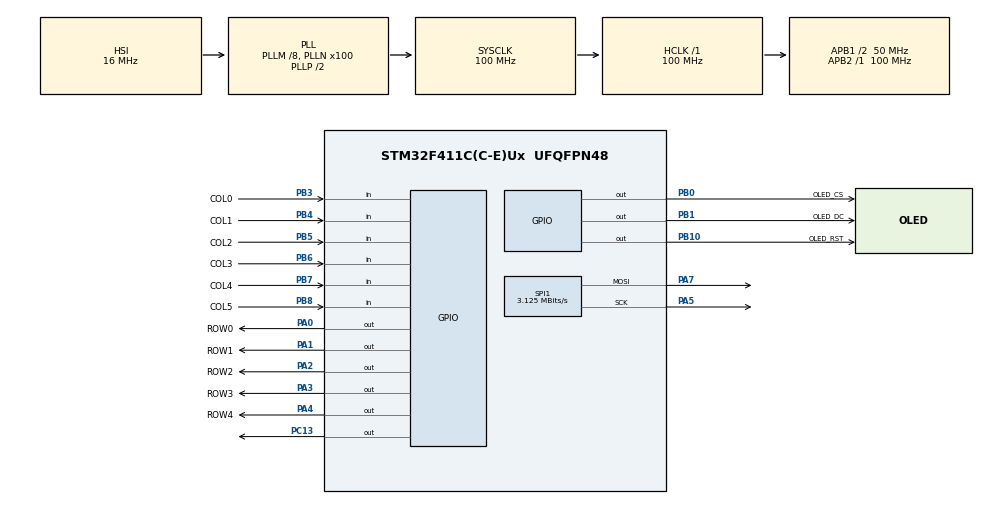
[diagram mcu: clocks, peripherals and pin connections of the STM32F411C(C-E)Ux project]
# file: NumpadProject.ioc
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Mcu.Family=STM32F4
Mcu.Name=STM32F411C(C-E)Ux
Mcu.Package=UFQFPN48
NVIC.PriorityGroup=NVIC_PRIORITYGROUP_4
PA0-WKUP.GPIO_Label=ROW0
PA0-WKUP.GPIO_ModeDefaultOutputPP=GPIO_MODE_OUTPUT_OD
PA0-WKUP.GPIO_PuPd=GPIO_NOPULL
PA0-WKUP.PinState=GPIO_PIN_SET
PA0-WKUP.Signal=GPIO_Output
PA1.GPIO_Label=ROW1
PA1.GPIO_ModeDefaultOutputPP=GPIO_MODE_OUTPUT_OD
PA1.GPIO_PuPd=GPIO_NOPULL
PA1.PinState=GPIO_PIN_SET
PA1.Signal=GPIO_Output
PA13.Mode=Serial_Wire
PA13.Signal=SYS_JTMS-SWDIO
PA14.Mode=Serial_Wire
PA14.Signal=SYS_JTCK-SWCLK
PA2.GPIO_Label=ROW2
PA2.GPIO_ModeDefaultOutputPP=GPIO_MODE_OUTPUT_OD
PA2.GPIO_PuPd=GPIO_NOPULL
PA2.PinState=GPIO_PIN_SET
PA2.Signal=GPIO_Output
PA3.GPIO_Label=ROW3
PA3.GPIO_ModeDefaultOutputPP=GPIO_MODE_OUTPUT_OD
PA3.GPIO_PuPd=GPIO_NOPULL
PA3.PinState=GPIO_PIN_SET
PA3.Signal=GPIO_Output
PA4.GPIO_Label=ROW4
PA4.GPIO_ModeDefaultOutputPP=GPIO_MODE_OUTPUT_OD
PA4.GPIO_PuPd=GPIO_NOPULL
PA4.PinState=GPIO_PIN_SET
PA4.Signal=GPIO_Output
PA5.Mode=TX_Only_Simplex_Unidirect_Master
PA5.Signal=SPI1_SCK
PA7.Mode=TX_Only_Simplex_Unidirect_Master
PA7.Signal=SPI1_MOSI
PB0.GPIO_Label=OLED_CS
PB0.Signal=GPIO_Output
PB1.GPIO_Label=OLED_DC
PB1.Signal=GPIO_Output
PB10.GPIO_Label=OLED_RST
PB10.Signal=GPIO_Output
PB3.GPIO_Label=COL0
PB3.GPIO_PuPd=GPIO_PULLUP
PB3.Signal=GPIO_Input
PB4.GPIO_Label=COL1
PB4.GPIO_PuPd=GPIO_PULLUP
PB4.Signal=GPIO_Input
PB5.GPIO_Label=COL2
PB5.GPIO_PuPd=GPIO_PULLUP
PB5.Signal=GPIO_Input
PB6.GPIO_Label=COL3
PB6.GPIO_PuPd=GPIO_PULLUP
PB6.Signal=GPIO_Input
PB7.GPIO_Label=COL4
PB7.GPIO_PuPd=GPIO_PULLUP
PB7.Signal=GPIO_Input
PB8.GPIO_Label=COL5
PB8.GPIO_PuPd=GPIO_PULLUP
PB8.Signal=GPIO_Input
PC13-ANTI_TAMP.Signal=GPIO_Output
PH0\ -\ OSC_IN.Mode=HSE-External-Oscillator
PH0\ -\ OSC_IN.Signal=RCC_OSC_IN
PH1\ -\ OSC_OUT.Mode=HSE-External-Oscillator
PH1\ -\ OSC_OUT.Signal=RCC_OSC_OUT
ProjectManager.HeapSize=0x200
ProjectManager.StackSize=0x400
ProjectManager.TargetToolchain=STM32CubeIDE
RCC.48MHZClocksFreq_Value=50000000
RCC.AHBFreq_Value=100000000
RCC.APB1CLKDivider=RCC_HCLK_DIV2
RCC.APB1Freq_Value=50000000
RCC.APB1TimFreq_Value=100000000
RCC.APB2Freq_Value=100000000
RCC.APB2TimFreq_Value=100000000
RCC.CortexFreq_Value=100000000
RCC.HCLKFreq_Value=100000000
RCC.HSE_VALUE=25000000
RCC.HSI_VALUE=16000000
RCC.LSE_VALUE=32768
RCC.PLLM=8
RCC.PLLN=100
RCC.SYSCLKFreq_VALUE=100000000
RCC.SYSCLKSource=RCC_SYSCLKSOURCE_PLLCLK
RCC.VCOOutputFreq_Value=200000000
SPI1.BaudRatePrescaler=SPI_BAUDRATEPRESCALER_32
SPI1.CalculateBaudRate=3.125 MBits/s
SPI1.Direction=SPI_DIRECTION_2LINES
SPI1.Mode=SPI_MODE_MASTER
SPI1.VirtualType=VM_MASTER
board=custom

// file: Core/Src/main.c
/* USER CODE BEGIN Header */
/**
  ******************************************************************************
  * @file           : main.c
  * @brief          : Main program body
  ******************************************************************************
  * @attention
  *
  * Copyright (c) 2026 STMicroelectronics.
  * All rights reserved.
  *
  * This software is licensed under terms that can be found in the LICENSE file
  * in the root directory of this software component.
  * If no LICENSE file comes with this software, it is provided AS-IS.
  *
  ******************************************************************************
  */
/* USER CODE END Header */
#include "main.h"
#include "spi.h"
#include "gpio.h"

#include "fonts.h"
#include "display.h"
#include "keypad.h"

void SystemClock_Config(void);

int main(void)
{

  /* MCU Configuration--------------------------------------------------------*/

  /* Reset of all peripherals, Initializes the Flash interface and the Systick. */
  HAL_Init();

  /* Configure the system clock */
  SystemClock_Config();

  /* Initialize all configured peripherals */
  MX_GPIO_Init();
  MX_SPI1_Init();
  /* USER CODE BEGIN 2 */
  ScreenInit();
  ScreenClear();
  ScreenPrintString(0, 0, "KEYPAD MATRIX TEST", SmallFont);
  ScreenPrintString(0, 18, "Press any key...", SmallFont);
  ScreenUpdate();

  char EqBuffer[64] = ""; // String to hold characters
  uint8_t Length = 0;
  /* USER CODE END 2 */

  /* Infinite loop */
  while (1)
   {

    /* USER CODE BEGIN 3 */
     char key = GetCurrentKey();

     if (key != '\0') {

    	 if (key =='T') { // All clear
    		 Length = 0;
    		 EqBuffer[0] = '\0';
    	 }
    	 else if (key == 'S') { // Backspace
    		 if (Length > 0) {
    			 Length--;
    			 EqBuffer[Length] = '\0';

    		 }
    	 }
    	 else if (Length < (sizeof(EqBuffer) - 1)) { // Add characters to string
    		 EqBuffer[Length] = key;
    		 Length++;
    		 EqBuffer[Length] = '\0';
    	 }

    	 ScreenClear();
    	 ScreenPrintString(0, 0, "SCROLLING TEST", SmallFont);
    	 PrintWithScroll(0, 8, EqBuffer, SmallFont);
    	 ScreenUpdate();

     }
   }
  /* USER CODE END 3 */
}

void SystemClock_Config(void)
{
  RCC_OscInitTypeDef RCC_OscInitStruct = {0};
  RCC_ClkInitTypeDef RCC_ClkInitStruct = {0};

  /** Configure the main internal regulator output voltage
  */
  __HAL_RCC_PWR_CLK_ENABLE();
  __HAL_PWR_VOLTAGESCALING_CONFIG(PWR_REGULATOR_VOLTAGE_SCALE1);

  /** Initializes the RCC Oscillators according to the specified parameters
  * in the RCC_OscInitTypeDef structure.
  */
  RCC_OscInitStruct.OscillatorType = RCC_OSCILLATORTYPE_HSI;
  RCC_OscInitStruct.HSIState = RCC_HSI_ON;
  RCC_OscInitStruct.HSICalibrationValue = RCC_HSICALIBRATION_DEFAULT;
  RCC_OscInitStruct.PLL.PLLState = RCC_PLL_ON;
  RCC_OscInitStruct.PLL.PLLSource = RCC_PLLSOURCE_HSI;
  RCC_OscInitStruct.PLL.PLLM = 8;
  RCC_OscInitStruct.PLL.PLLN = 100;
  RCC_OscInitStruct.PLL.PLLP = RCC_PLLP_DIV2;
  RCC_OscInitStruct.PLL.PLLQ = 4;
  if (HAL_RCC_OscConfig(&RCC_OscInitStruct) != HAL_OK)
  {
    Error_Handler();
  }

  /** Initializes the CPU, AHB and APB buses clocks
  */
  RCC_ClkInitStruct.ClockType = RCC_CLOCKTYPE_HCLK|RCC_CLOCKTYPE_SYSCLK
                              |RCC_CLOCKTYPE_PCLK1|RCC_CLOCKTYPE_PCLK2;
  RCC_ClkInitStruct.SYSCLKSource = RCC_SYSCLKSOURCE_PLLCLK;
  RCC_ClkInitStruct.AHBCLKDivider = RCC_SYSCLK_DIV1;
  RCC_ClkInitStruct.APB1CLKDivider = RCC_HCLK_DIV2;
  RCC_ClkInitStruct.APB2CLKDivider = RCC_HCLK_DIV1;

  if (HAL_RCC_ClockConfig(&RCC_ClkInitStruct, FLASH_LATENCY_3) != HAL_OK)
  {
    Error_Handler();
  }
}

void Error_Handler(void)
{
  __disable_irq();
  while (1)
  {
  }
}
